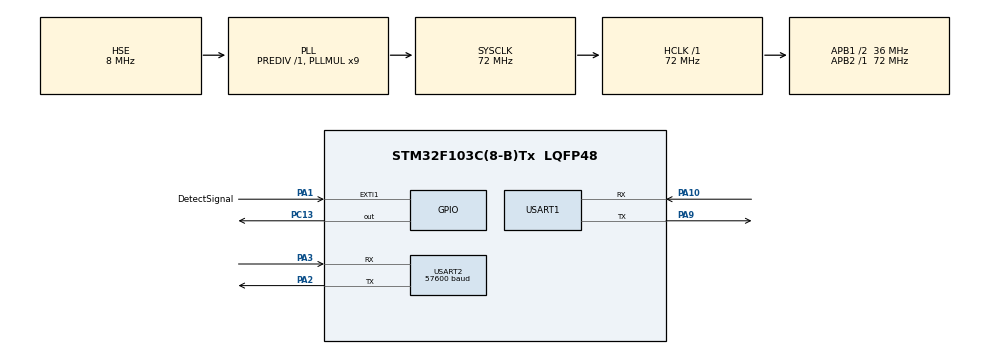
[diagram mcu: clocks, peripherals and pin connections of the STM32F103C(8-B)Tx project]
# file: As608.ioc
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Dma.Request0=USART2_RX
Dma.USART2_RX.0.Direction=DMA_PERIPH_TO_MEMORY
Dma.USART2_RX.0.Instance=DMA1_Channel6
Dma.USART2_RX.0.MemDataAlignment=DMA_MDATAALIGN_BYTE
Dma.USART2_RX.0.MemInc=DMA_MINC_ENABLE
Dma.USART2_RX.0.Mode=DMA_NORMAL
Dma.USART2_RX.0.PeriphDataAlignment=DMA_PDATAALIGN_BYTE
Dma.USART2_RX.0.PeriphInc=DMA_PINC_DISABLE
Dma.USART2_RX.0.Priority=DMA_PRIORITY_LOW
Mcu.Family=STM32F1
Mcu.Name=STM32F103C(8-B)Tx
Mcu.Package=LQFP48
NVIC.DMA1_Channel6_IRQn=true\:0\:0\:false\:false\:true\:false\:true
NVIC.EXTI1_IRQn=true\:0\:0\:false\:false\:true\:true\:true
NVIC.PriorityGroup=NVIC_PRIORITYGROUP_4
NVIC.USART2_IRQn=true\:0\:0\:false\:false\:true\:true\:true
PA1.GPIO_Label=DetectSignal
PA1.GPIO_PuPd=GPIO_PULLDOWN
PA1.Signal=GPXTI1
PA10.Mode=Asynchronous
PA10.Signal=USART1_RX
PA13.Mode=Serial_Wire
PA13.Signal=SYS_JTMS-SWDIO
PA14.Mode=Serial_Wire
PA14.Signal=SYS_JTCK-SWCLK
PA2.Mode=Asynchronous
PA2.Signal=USART2_TX
PA3.Mode=Asynchronous
PA3.Signal=USART2_RX
PA9.Mode=Asynchronous
PA9.Signal=USART1_TX
PC13-TAMPER-RTC.Signal=GPIO_Output
PC14-OSC32_IN.Mode=LSE-External-Oscillator
PC14-OSC32_IN.Signal=RCC_OSC32_IN
PC15-OSC32_OUT.Mode=LSE-External-Oscillator
PC15-OSC32_OUT.Signal=RCC_OSC32_OUT
PD0-OSC_IN.Mode=HSE-External-Oscillator
PD0-OSC_IN.Signal=RCC_OSC_IN
PD1-OSC_OUT.Mode=HSE-External-Oscillator
PD1-OSC_OUT.Signal=RCC_OSC_OUT
ProjectManager.HeapSize=0x2000
ProjectManager.StackSize=0x2000
ProjectManager.TargetToolchain=MDK-ARM V5.27
RCC.AHBFreq_Value=72000000
RCC.APB1CLKDivider=RCC_HCLK_DIV2
RCC.APB1Freq_Value=36000000
RCC.APB1TimFreq_Value=72000000
RCC.APB2Freq_Value=72000000
RCC.APB2TimFreq_Value=72000000
RCC.HCLKFreq_Value=72000000
RCC.PLLMUL=RCC_PLL_MUL9
RCC.PLLSourceVirtual=RCC_PLLSOURCE_HSE
RCC.SYSCLKFreq_VALUE=72000000
RCC.SYSCLKSource=RCC_SYSCLKSOURCE_PLLCLK
RCC.USBFreq_Value=72000000
USART1.VirtualMode=VM_ASYNC
USART2.BaudRate=57600
USART2.VirtualMode=VM_ASYNC
board=custom

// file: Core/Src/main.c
/* USER CODE BEGIN Header */
/**
  ******************************************************************************
  * @file           : main.c
  * @brief          : Main program body
  ******************************************************************************
  * @attention
  *
  * <h2><center>&copy; Copyright (c) 2023 STMicroelectronics.
  * All rights reserved.</center></h2>
  *
  * This software component is licensed by ST under BSD 3-Clause license,
  * the "License"; You may not use this file except in compliance with the
  * License. You may obtain a copy of the License at:
  *                        opensource.org/licenses/BSD-3-Clause
  *
  ******************************************************************************
  */
/* USER CODE END Header */
#include "main.h"
#include "dma.h"
#include "usart.h"
#include "gpio.h"

/* USER CODE BEGIN Includes */
#include "As608.h"
#include "stm32f1xx_it.h"
/* USER CODE END Includes */

/* USER CODE BEGIN PD */
#define NR(x) (sizeof(x) / sizeof(x[0]))
/* USER CODE END PD */

void SystemClock_Config(void);
/* USER CODE BEGIN PFP */
int fputc(int ch, FILE* file)
{
    HAL_UART_Transmit(&huart1, (uint8_t*)&ch, 1, 1000);
    return ch;
}
/* USER CODE END PFP */

/* USER CODE BEGIN 0 */
Queue CmdQueue;
__IO uint8_t CheckAuth = 0;
__IO uint32_t RecvLen;
__IO uint32_t LedBlinkCnt = 0;
__IO uint8_t IsSensorTrigger = 0;

void HandlerSensorModuleReply(uint8_t *CmdBuf)
{
    switch(As608GetId)
    {
        case AS608_CMD_AUTH_CHECK:
            if(0x00 == CmdBuf[RecvLen - 3])
                CheckAuth = 1;
            else
                CheckAuth = 0;
            break;

    }
}
/* USER CODE END 0 */

int main(void)
{
    /* USER CODE BEGIN 1 */
    int Data;
    int Index;
    uint8_t CmdBuf[20] = {0};
    Queue_Init(&CmdQueue);
    /* USER CODE END 1 */

    /* MCU Configuration--------------------------------------------------------*/

    /* Reset of all peripherals, Initializes the Flash interface and the Systick. */
    HAL_Init();

    /* Configure the system clock */
    SystemClock_Config();

    /* Initialize all configured peripherals */
    MX_GPIO_Init();
    MX_DMA_Init();
    MX_USART1_UART_Init();
    MX_USART2_UART_Init();
    /* USER CODE BEGIN 2 */
    CheckAuth = 0;
    LedBlinkCnt = 0;
    Finger_Sensor_Handler.BufferReady = 0;
    memset(Finger_Sensor_Handler.SensorU2RxBuffer, 0, SENSOR_U2_BUFFER_SIZE);
    HAL_UART_Receive_DMA(&huart2, Finger_Sensor_Handler.SensorU2RxBuffer, SENSOR_U2_BUFFER_SIZE);
    As608ModuleInit();
    HAL_Delay(500);
    /* USER CODE END 2 */

    /* Infinite loop */
    while (1)
    {

        /* USER CODE BEGIN 3 */
        /*任务1，接收指纹传感器指令*/
        if(Finger_Sensor_Handler.BufferReady)
        {
            Finger_Sensor_Handler.BufferReady = 0;

            if(0 != RecvLen)
            {
                for(Index = 0; Index < RecvLen; Index++)
                {
                    Queue_Pop(&CmdQueue, &Data);
                    CmdBuf[Index] = Data;
                }
                if(CmdBuf[0] == 0xef && CmdBuf[1] == 0x01  &&
                        CmdBuf[2] == 0xFF && CmdBuf[3] == 0xFF &&
                        CmdBuf[4] == 0xFF && CmdBuf[4] == 0xFF)
                    HandlerSensorModuleReply(CmdBuf);
                memset(CmdBuf, 0, sizeof(CmdBuf));
            }
        }

        /*任务2，LED闪烁程序，确保主程序活着*/
        if(LedBlinkCnt > 100)
        {
            HAL_GPIO_TogglePin(GPIOC, GPIO_PIN_13);
            LedBlinkCnt = 0;
        }

        /*任务3，指纹传感器外部中断上升沿触发*/
        if(IsSensorTrigger)
        {
            printf("指纹传感器已触发\n");
            IsSensorTrigger = 0;
        }
    }

    /* USER CODE END 3 */
}

void SystemClock_Config(void)
{
    RCC_OscInitTypeDef RCC_OscInitStruct = {0};
    RCC_ClkInitTypeDef RCC_ClkInitStruct = {0};

    /** Initializes the RCC Oscillators according to the specified parameters
    * in the RCC_OscInitTypeDef structure.
    */
    RCC_OscInitStruct.OscillatorType = RCC_OSCILLATORTYPE_HSE;
    RCC_OscInitStruct.HSEState = RCC_HSE_ON;
    RCC_OscInitStruct.HSEPredivValue = RCC_HSE_PREDIV_DIV1;
    RCC_OscInitStruct.HSIState = RCC_HSI_ON;
    RCC_OscInitStruct.PLL.PLLState = RCC_PLL_ON;
    RCC_OscInitStruct.PLL.PLLSource = RCC_PLLSOURCE_HSE;
    RCC_OscInitStruct.PLL.PLLMUL = RCC_PLL_MUL9;

    if (HAL_RCC_OscConfig(&RCC_OscInitStruct) != HAL_OK)
    {
        Error_Handler();
    }

    /** Initializes the CPU, AHB and APB buses clocks
    */
    RCC_ClkInitStruct.ClockType = RCC_CLOCKTYPE_HCLK | RCC_CLOCKTYPE_SYSCLK
                                  | RCC_CLOCKTYPE_PCLK1 | RCC_CLOCKTYPE_PCLK2;
    RCC_ClkInitStruct.SYSCLKSource = RCC_SYSCLKSOURCE_PLLCLK;
    RCC_ClkInitStruct.AHBCLKDivider = RCC_SYSCLK_DIV1;
    RCC_ClkInitStruct.APB1CLKDivider = RCC_HCLK_DIV2;
    RCC_ClkInitStruct.APB2CLKDivider = RCC_HCLK_DIV1;

    if (HAL_RCC_ClockConfig(&RCC_ClkInitStruct, FLASH_LATENCY_2) != HAL_OK)
    {
        Error_Handler();
    }
}

void Error_Handler(void)
{
    __disable_irq();
    while (1)
    {
    }
}

/************************ (C) COPYRIGHT STMicroelectronics *****END OF FILE****/
